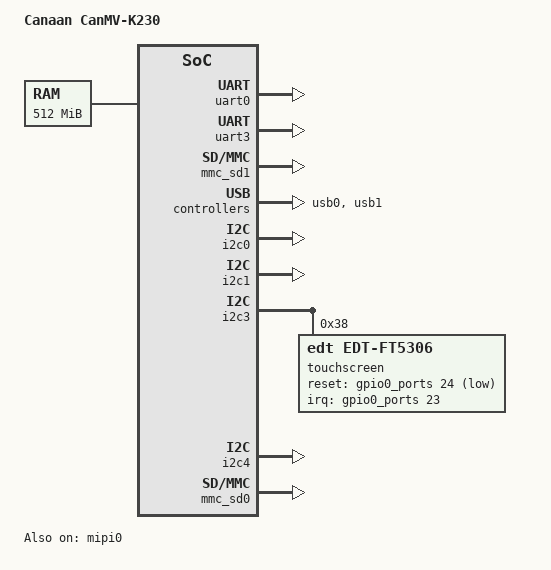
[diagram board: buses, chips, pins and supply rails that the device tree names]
// SPDX-License-Identifier: GPL-2.0 OR MIT
/*
 * Copyright (C) 2024 Yangyu Chen <cyy@cyyself.name>
 */

#include "k230.dtsi"

#include "display-ili9881-800x1280.dtsi"

/ {
	model = "Canaan CanMV-K230";
	compatible = "canaan,canmv-k230", "canaan,kendryte-k230","k230_canmv_lckfb";

	aliases {
		serial3 = &uart3;
		mmc0 = &mmc_sd0;
		mmc1 = &mmc_sd1;
		i2c0 = &i2c0;
		i2c1 = &i2c1;
		i2c3 = &i2c3;
		i2c4 = &i2c4;
	};

	chosen {
		stdout-path = "serial0:115200n8";
	};

	ddr: memory@0 {
		device_type = "memory";
		reg = <0x0 0x0 0x0 0x20000000>;
	};

	sound {
		status                      = "okay";
		compatible                  = "canaan,k230-audio-inno";
		canaan,model                = "K230_I2S_INNO";
		canaan,k230-i2s-controller  = <&i2s>;
		canaan,k230-audio-codec     = <&inno_codec>;
	};
};

&uart0 {
	status = "okay";
};

&uart3 {
	status = "okay";
};

&mmc_sd1{
	status = "okay";
	no-1-8-v;
	cap-sd-highspeed;
	mshc_ctrl_r = <0x00>;
};

&usb0 {
	status = "okay";
};

&usb1 {
	status = "okay";
};

&i2c0 {
	status = "okay";
};

&i2c1 {
	status = "okay";
};

&i2c3 {
	status = "okay";
	touchscreen@38 {
		compatible = "edt,edt-ft5306";
		reg = <0x38>;
		reset-gpios = <&gpio0_ports 24 GPIO_ACTIVE_LOW>;
		interrupt-parent = <&gpio0_ports>;
		interrupts = <23 IRQ_TYPE_EDGE_FALLING>;
	};
};

&i2c4 {
	status = "okay";
};

/* CSI2 default single-cam; CSI0/CSI1 prewritten disabled.
 *   slot0 / mipi.0 = physical CSI2 (ON)
 *   slot1 / mipi.1 = physical CSI0 (disabled; set status="okay" to enable)
 *   slot2 / mipi.2 = physical CSI1 (disabled; set status="okay" to enable)
 * Sensor count = continuous (devN-sensor-name AND mipi.N okay).
 * Enable corresponding &i2cX when enabling a slot.
 */
&mipi0 {
	/* CSI2 -> logical slot0 */
	id = <2>;
	reg = <0x0 0x9000a800 0x0 0x800>;
	interrupts = <121 IRQ_TYPE_LEVEL_HIGH>;
	resets = <&sysctl_reset K230_RESET_CSI2_REG_OFFSET K230_RESET_CSI2_TYPE
			  K230_RESET_CSI2_DONE_BIT K230_RESET_CSI2_ASSERT_BIT>,
		 <&sysctl_reset K230_RESET_M2_REG_OFFSET K230_RESET_M2_TYPE
			  K230_RESET_M2_DONE_BIT K230_RESET_M2_ASSERT_BIT>;
	reset-gpios = <&gpio0_ports 13 GPIO_ACTIVE_HIGH>;
	status = "okay";
};

&mipi1 {
	/* CSI0 -> logical slot1; disabled by default */
	id = <0>;
	reg = <0x0 0x90009800 0x0 0x800>;
	interrupts = <115 IRQ_TYPE_LEVEL_HIGH>;
	resets = <&sysctl_reset K230_RESET_CSI0_REG_OFFSET K230_RESET_CSI0_TYPE
			  K230_RESET_CSI0_DONE_BIT K230_RESET_CSI0_ASSERT_BIT>,
		 <&sysctl_reset K230_RESET_M0_REG_OFFSET K230_RESET_M0_TYPE
			  K230_RESET_M0_DONE_BIT K230_RESET_M0_ASSERT_BIT>;
	status = "disabled";
};

&mipi2 {
	/* CSI1 -> logical slot2; disabled by default */
	id = <1>;
	reg = <0x0 0x9000a000 0x0 0x800>;
	interrupts = <118 IRQ_TYPE_LEVEL_HIGH>;
	resets = <&sysctl_reset K230_RESET_CSI1_REG_OFFSET K230_RESET_CSI1_TYPE
			  K230_RESET_CSI1_DONE_BIT K230_RESET_CSI1_ASSERT_BIT>,
		 <&sysctl_reset K230_RESET_M1_REG_OFFSET K230_RESET_M1_TYPE
			  K230_RESET_M1_DONE_BIT K230_RESET_M1_ASSERT_BIT>;
	status = "disabled";
};

&v4l2isp {
	/*
	 * Pre-write three sensors; only enabled mipi.N slots count.
	 * With mipi1/mipi2 disabled: 1 cam / 3 video nodes.
	 */
	dev0-sensor-name = "gc2093";
	dev0-sensor-mode = <0>;
	dev0-sensor-i2c-bus = <4>; /* CSI2 */
	dev1-sensor-name = "gc2093";
	dev1-sensor-mode = <0>;
	dev1-sensor-i2c-bus = <0>; /* CSI0 */
	dev2-sensor-name = "gc2093";
	dev2-sensor-mode = <0>;
	dev2-sensor-i2c-bus = <1>; /* CSI1 */
};
&mmc_sd0 {
	status = "okay";
	no-1-8-v;
	rx_delay_line = <0x0d>;
	tx_delay_line = <0xc0>;
};

&lcd {
	dsi_reset-gpios = <&gpio0_ports 22 GPIO_ACTIVE_HIGH>;
	backlight_gpio-gpios = <&gpio0_ports 25 GPIO_ACTIVE_HIGH>;
};
